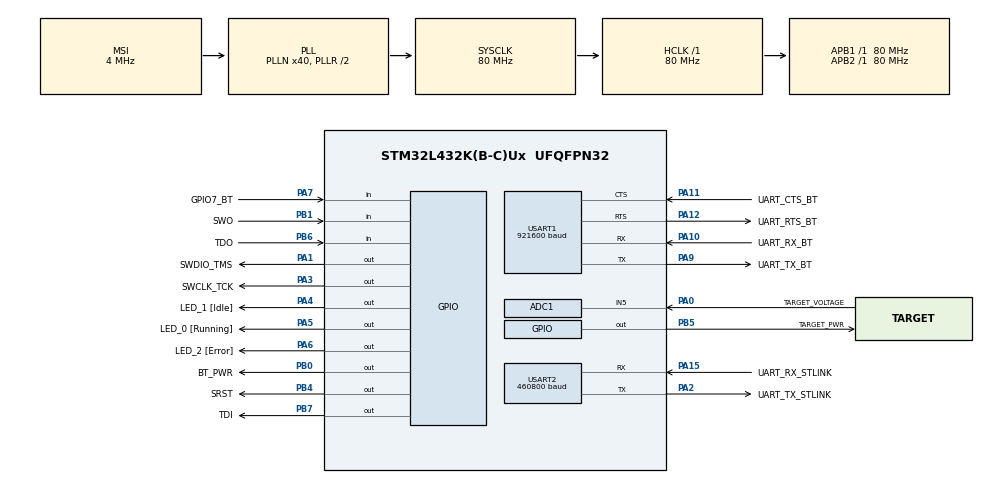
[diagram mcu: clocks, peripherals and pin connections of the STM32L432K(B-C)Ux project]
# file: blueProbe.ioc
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ADC1.Channel-8\#ChannelRegularConversion=ADC_CHANNEL_5
ADC1.ClockPrescaler=ADC_CLOCK_SYNC_PCLK_DIV1
ADC1.ContinuousConvMode=DISABLE
ADC1.DMAContinuousRequests=DISABLE
ADC1.DataAlign=ADC_DATAALIGN_RIGHT
ADC1.DiscontinuousConvMode=DISABLE
ADC1.EOCSelection=ADC_EOC_SINGLE_CONV
ADC1.EnableAnalogWatchDog1=false
ADC1.EnableAnalogWatchDog2=false
ADC1.EnableAnalogWatchDog3=false
ADC1.EnableInjectedConversion=DISABLE
ADC1.EnableRegularConversion=ENABLE
ADC1.ExternalTrigConv=ADC_SOFTWARE_START
ADC1.ExternalTrigConvEdge=ADC_EXTERNALTRIGCONVEDGE_NONE
ADC1.LowPowerAutoWait=DISABLE
ADC1.NbrOfConversion=1
ADC1.NbrOfConversionFlag=1
ADC1.OffsetNumber-8\#ChannelRegularConversion=ADC_OFFSET_NONE
ADC1.Overrun=ADC_OVR_DATA_PRESERVED
ADC1.OversamplingMode=DISABLE
ADC1.Rank-8\#ChannelRegularConversion=1
ADC1.Resolution=ADC_RESOLUTION_12B
ADC1.SamplingTime-8\#ChannelRegularConversion=ADC_SAMPLETIME_2CYCLES_5
ADC1.ScanConvMode=ADC_SCAN_DISABLE
ADC1.master=1
Dma.Request0=USART2_TX
Dma.Request1=USART2_RX
Dma.Request2=USART1_RX
Dma.Request3=USART1_TX
Dma.USART1_RX.2.Direction=DMA_PERIPH_TO_MEMORY
Dma.USART1_RX.2.Instance=DMA1_Channel5
Dma.USART1_RX.2.MemDataAlignment=DMA_MDATAALIGN_BYTE
Dma.USART1_RX.2.MemInc=DMA_MINC_ENABLE
Dma.USART1_RX.2.Mode=DMA_CIRCULAR
Dma.USART1_RX.2.PeriphDataAlignment=DMA_PDATAALIGN_BYTE
Dma.USART1_RX.2.PeriphInc=DMA_PINC_DISABLE
Dma.USART1_RX.2.Priority=DMA_PRIORITY_VERY_HIGH
Dma.USART1_TX.3.Direction=DMA_MEMORY_TO_PERIPH
Dma.USART1_TX.3.Instance=DMA1_Channel4
Dma.USART1_TX.3.MemDataAlignment=DMA_MDATAALIGN_BYTE
Dma.USART1_TX.3.MemInc=DMA_MINC_ENABLE
Dma.USART1_TX.3.Mode=DMA_NORMAL
Dma.USART1_TX.3.PeriphDataAlignment=DMA_PDATAALIGN_BYTE
Dma.USART1_TX.3.PeriphInc=DMA_PINC_DISABLE
Dma.USART1_TX.3.Priority=DMA_PRIORITY_VERY_HIGH
Dma.USART2_RX.1.Direction=DMA_PERIPH_TO_MEMORY
Dma.USART2_RX.1.Instance=DMA1_Channel6
Dma.USART2_RX.1.MemDataAlignment=DMA_MDATAALIGN_BYTE
Dma.USART2_RX.1.MemInc=DMA_MINC_ENABLE
Dma.USART2_RX.1.Mode=DMA_CIRCULAR
Dma.USART2_RX.1.PeriphDataAlignment=DMA_PDATAALIGN_BYTE
Dma.USART2_RX.1.PeriphInc=DMA_PINC_DISABLE
Dma.USART2_RX.1.Priority=DMA_PRIORITY_VERY_HIGH
Dma.USART2_TX.0.Direction=DMA_MEMORY_TO_PERIPH
Dma.USART2_TX.0.Instance=DMA1_Channel7
Dma.USART2_TX.0.MemDataAlignment=DMA_MDATAALIGN_BYTE
Dma.USART2_TX.0.MemInc=DMA_MINC_ENABLE
Dma.USART2_TX.0.Mode=DMA_NORMAL
Dma.USART2_TX.0.PeriphDataAlignment=DMA_PDATAALIGN_BYTE
Dma.USART2_TX.0.PeriphInc=DMA_PINC_DISABLE
Dma.USART2_TX.0.Priority=DMA_PRIORITY_VERY_HIGH
Mcu.Family=STM32L4
Mcu.Name=STM32L432K(B-C)Ux
Mcu.Package=UFQFPN32
NVIC.DMA1_Channel4_IRQn=true\:1\:0\:true\:false\:true\:true
NVIC.DMA1_Channel5_IRQn=true\:1\:0\:true\:false\:true\:true
NVIC.DMA1_Channel6_IRQn=true\:1\:0\:true\:false\:true\:true
NVIC.DMA1_Channel7_IRQn=true\:1\:1\:true\:false\:true\:true
NVIC.PriorityGroup=NVIC_PRIORITYGROUP_2
NVIC.USART1_IRQn=true\:1\:0\:true\:false\:true\:true
NVIC.USART2_IRQn=true\:1\:1\:true\:false\:true\:true
PA0.GPIO_Label=TARGET_VOLTAGE
PA0.Signal=ADCx_IN5
PA1.GPIO_Label=SWDIO_TMS
PA1.GPIO_Speed=GPIO_SPEED_FREQ_VERY_HIGH
PA1.Signal=GPIO_Output
PA10.GPIO_Label=UART_RX_BT
PA10.Mode=Asynchronous
PA10.Signal=USART1_RX
PA11.GPIO_Label=UART_CTS_BT
PA11.Mode=CTS_RTS
PA11.Signal=USART1_CTS
PA12.GPIO_Label=UART_RTS_BT
PA12.Mode=CTS_RTS
PA12.Signal=USART1_RTS
PA13\ (JTMS-SWDIO).Mode=Serial_Wire
PA13\ (JTMS-SWDIO).Signal=SYS_JTMS-SWDIO
PA14\ (JTCK-SWCLK).Mode=Serial_Wire
PA14\ (JTCK-SWCLK).Signal=SYS_JTCK-SWCLK
PA15\ (JTDI).GPIO_Label=UART_RX_STLINK
PA15\ (JTDI).GPIO_Mode=GPIO_MODE_AF_PP
PA15\ (JTDI).GPIO_PuPd=GPIO_PULLUP
PA15\ (JTDI).GPIO_Speed=GPIO_SPEED_FREQ_VERY_HIGH
PA15\ (JTDI).Mode=Asynchronous
PA15\ (JTDI).Signal=USART2_RX
PA2.GPIO_Label=UART_TX_STLINK
PA2.GPIO_Mode=GPIO_MODE_AF_PP
PA2.GPIO_PuPd=GPIO_PULLUP
PA2.GPIO_Speed=GPIO_SPEED_FREQ_VERY_HIGH
PA2.Mode=Asynchronous
PA2.Signal=USART2_TX
PA3.GPIO_Label=SWCLK_TCK
PA3.GPIO_Speed=GPIO_SPEED_FREQ_VERY_HIGH
PA3.Signal=GPIO_Output
PA4.GPIO_Label=LED_1 [Idle]
PA4.GPIO_ModeDefaultOutputPP=GPIO_MODE_OUTPUT_PP
PA4.GPIO_PuPd=GPIO_NOPULL
PA4.GPIO_Speed=GPIO_SPEED_FREQ_VERY_HIGH
PA4.PinState=GPIO_PIN_RESET
PA4.Signal=GPIO_Output
PA5.GPIO_Label=LED_0 [Running]
PA5.GPIO_Speed=GPIO_SPEED_FREQ_VERY_HIGH
PA5.PinState=GPIO_PIN_RESET
PA5.Signal=GPIO_Output
PA6.GPIO_Label=LED_2 [Error]
PA6.GPIO_Speed=GPIO_SPEED_FREQ_VERY_HIGH
PA6.PinState=GPIO_PIN_RESET
PA6.Signal=GPIO_Output
PA7.GPIO_Label=GPIO7_BT
PA7.Signal=GPIO_Input
PA9.GPIO_Label=UART_TX_BT
PA9.Mode=Asynchronous
PA9.Signal=USART1_TX
PB0.GPIO_Label=BT_PWR
PB0.PinState=GPIO_PIN_SET
PB0.Signal=GPIO_Output
PB1.GPIO_Label=SWO
PB1.Signal=GPIO_Input
PB4\ (NJTRST).GPIO_Label=SRST
PB4\ (NJTRST).GPIO_ModeDefaultOutputPP=GPIO_MODE_OUTPUT_OD
PB4\ (NJTRST).GPIO_Speed=GPIO_SPEED_FREQ_VERY_HIGH
PB4\ (NJTRST).PinState=GPIO_PIN_RESET
PB4\ (NJTRST).Signal=GPIO_Output
PB5.GPIO_Label=TARGET_PWR
PB5.GPIO_Speed=GPIO_SPEED_FREQ_VERY_HIGH
PB5.Signal=GPIO_Output
PB6.GPIO_Label=TDO
PB6.GPIO_PuPd=GPIO_NOPULL
PB6.Signal=GPIO_Input
PB7.GPIO_Label=TDI
PB7.GPIO_Speed=GPIO_SPEED_FREQ_VERY_HIGH
PB7.Signal=GPIO_Output
ProjectManager.HeapSize=0x200
ProjectManager.StackSize=0x400
ProjectManager.TargetToolchain=Makefile
RCC.ADCCLockSelection=RCC_ADCCLKSOURCE_SYSCLK
RCC.ADCFreq_Value=80000000
RCC.AHBFreq_Value=80000000
RCC.APB1Freq_Value=80000000
RCC.APB1TimFreq_Value=80000000
RCC.APB2Freq_Value=80000000
RCC.APB2TimFreq_Value=80000000
RCC.CortexFreq_Value=80000000
RCC.HCLKFreq_Value=80000000
RCC.HSE_VALUE=8000000
RCC.HSI48_VALUE=48000000
RCC.HSI_VALUE=16000000
RCC.LSE_VALUE=32768
RCC.MSI_VALUE=4000000
RCC.PLLN=40
RCC.SYSCLKFreq_VALUE=80000000
RCC.SYSCLKSource=RCC_SYSCLKSOURCE_PLLCLK
RCC.USBFreq_Value=16000000
RCC.VCOOutputFreq_Value=160000000
SH.ADCx_IN5.0=ADC1_IN5,IN5-Single-Ended
USART1.BaudRate=921600
USART1.SwapParam=UART_ADVFEATURE_SWAP_DISABLE
USART1.VirtualMode-Asynchronous=VM_ASYNC
USART1.WordLength=WORDLENGTH_8B
USART2.BaudRate=460800
USART2.VirtualMode-Asynchronous=VM_ASYNC
USART2.WordLength=WORDLENGTH_8B
VP_CRC_VS_CRC.Mode=CRC_Activate
board=NUCLEO-L432KC

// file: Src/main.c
/**
  ******************************************************************************
  * File Name          : main.c
  * Description        : Main program body
  ******************************************************************************
  ** This notice applies to any and all portions of this file
  * that are not between comment pairs USER CODE BEGIN and
  * USER CODE END. Other portions of this file, whether
  * inserted by the user or by software development tools
  * are owned by their respective copyright owners.
  *
  * COPYRIGHT(c) 2017 STMicroelectronics
  *
  * Redistribution and use in source and binary forms, with or without modification,
  * are permitted provided that the following conditions are met:
  *   1. Redistributions of source code must retain the above copyright notice,
  *      this list of conditions and the following disclaimer.
  *   2. Redistributions in binary form must reproduce the above copyright notice,
  *      this list of conditions and the following disclaimer in the documentation
  *      and/or other materials provided with the distribution.
  *   3. Neither the name of STMicroelectronics nor the names of its contributors
  *      may be used to endorse or promote products derived from this software
  *      without specific prior written permission.
  *
  * THIS SOFTWARE IS PROVIDED BY THE COPYRIGHT HOLDERS AND CONTRIBUTORS "AS IS"
  * AND ANY EXPRESS OR IMPLIED WARRANTIES, INCLUDING, BUT NOT LIMITED TO, THE
  * IMPLIED WARRANTIES OF MERCHANTABILITY AND FITNESS FOR A PARTICULAR PURPOSE ARE
  * DISCLAIMED. IN NO EVENT SHALL THE COPYRIGHT HOLDER OR CONTRIBUTORS BE LIABLE
  * FOR ANY DIRECT, INDIRECT, INCIDENTAL, SPECIAL, EXEMPLARY, OR CONSEQUENTIAL
  * DAMAGES (INCLUDING, BUT NOT LIMITED TO, PROCUREMENT OF SUBSTITUTE GOODS OR
  * SERVICES; LOSS OF USE, DATA, OR PROFITS; OR BUSINESS INTERRUPTION) HOWEVER
  * CAUSED AND ON ANY THEORY OF LIABILITY, WHETHER IN CONTRACT, STRICT LIABILITY,
  * OR TORT (INCLUDING NEGLIGENCE OR OTHERWISE) ARISING IN ANY WAY OUT OF THE USE
  * OF THIS SOFTWARE, EVEN IF ADVISED OF THE POSSIBILITY OF SUCH DAMAGE.
  *
  ******************************************************************************
  */
#include "main.h"
#include "stm32l4xx_hal.h"
#include "adc.h"
#include "crc.h"
#include "dma.h"
#include "usart.h"
#include "gpio.h"

/* USER CODE BEGIN Includes */
#include "general.h"
#include "gdb_main.h"
#include "target.h"
#include "exception.h"
#include "gdb_packet.h"
#include "morse.h"
/* USER CODE END Includes */

/* USER CODE BEGIN PV */
/* Private variables ---------------------------------------------------------*/

/* USER CODE END PV */

void SystemClock_Config(void);

/* USER CODE BEGIN PFP */
/* Private function prototypes -----------------------------------------------*/

/* USER CODE END PFP */

int main(void)
{

  /* MCU Configuration----------------------------------------------------------*/

  /* Reset of all peripherals, Initializes the Flash interface and the Systick. */
  HAL_Init();

  /* Configure the system clock */
  SystemClock_Config();

  /* Initialize all configured peripherals */
  MX_GPIO_Init();
  MX_DMA_Init();
  MX_USART2_UART_Init();
  MX_USART1_UART_Init();
  MX_CRC_Init();
  MX_ADC1_Init();

  /* USER CODE BEGIN 2 */
  platform_init();

  while (true) {
      volatile struct exception e;
      TRY_CATCH(e, EXCEPTION_ALL) {
          gdb_main();
      }
      if (e.type) {
          gdb_putpacketz("EFF");
          target_list_free();
          morse("TARGET LOST.", 1);
      }
  }
  /* USER CODE END 2 */

  /* Infinite loop */
  while (1)
  {

  }

}

/** System Clock Configuration
*/
void SystemClock_Config(void)
{

  RCC_OscInitTypeDef RCC_OscInitStruct;
  RCC_ClkInitTypeDef RCC_ClkInitStruct;
  RCC_PeriphCLKInitTypeDef PeriphClkInit;

    /**Initializes the CPU, AHB and APB busses clocks
    */
  RCC_OscInitStruct.OscillatorType = RCC_OSCILLATORTYPE_MSI;
  RCC_OscInitStruct.MSIState = RCC_MSI_ON;
  RCC_OscInitStruct.MSICalibrationValue = 0;
  RCC_OscInitStruct.MSIClockRange = RCC_MSIRANGE_6;
  RCC_OscInitStruct.PLL.PLLState = RCC_PLL_ON;
  RCC_OscInitStruct.PLL.PLLSource = RCC_PLLSOURCE_MSI;
  RCC_OscInitStruct.PLL.PLLN = 40;
  RCC_OscInitStruct.PLL.PLLP = RCC_PLLP_DIV7;
  RCC_OscInitStruct.PLL.PLLQ = RCC_PLLQ_DIV2;
  RCC_OscInitStruct.PLL.PLLR = RCC_PLLR_DIV2;
  if (HAL_RCC_OscConfig(&RCC_OscInitStruct) != HAL_OK)
  {
    _Error_Handler(__FILE__, __LINE__);
  }

    /**Initializes the CPU, AHB and APB busses clocks
    */
  RCC_ClkInitStruct.ClockType = RCC_CLOCKTYPE_HCLK|RCC_CLOCKTYPE_SYSCLK
                              |RCC_CLOCKTYPE_PCLK1|RCC_CLOCKTYPE_PCLK2;
  RCC_ClkInitStruct.SYSCLKSource = RCC_SYSCLKSOURCE_PLLCLK;
  RCC_ClkInitStruct.AHBCLKDivider = RCC_SYSCLK_DIV1;
  RCC_ClkInitStruct.APB1CLKDivider = RCC_HCLK_DIV1;
  RCC_ClkInitStruct.APB2CLKDivider = RCC_HCLK_DIV1;

  if (HAL_RCC_ClockConfig(&RCC_ClkInitStruct, FLASH_LATENCY_4) != HAL_OK)
  {
    _Error_Handler(__FILE__, __LINE__);
  }

  PeriphClkInit.PeriphClockSelection = RCC_PERIPHCLK_USART1|RCC_PERIPHCLK_USART2
                              |RCC_PERIPHCLK_ADC;
  PeriphClkInit.Usart1ClockSelection = RCC_USART1CLKSOURCE_PCLK2;
  PeriphClkInit.Usart2ClockSelection = RCC_USART2CLKSOURCE_PCLK1;
  PeriphClkInit.AdcClockSelection = RCC_ADCCLKSOURCE_SYSCLK;
  if (HAL_RCCEx_PeriphCLKConfig(&PeriphClkInit) != HAL_OK)
  {
    _Error_Handler(__FILE__, __LINE__);
  }

    /**Configure the main internal regulator output voltage
    */
  if (HAL_PWREx_ControlVoltageScaling(PWR_REGULATOR_VOLTAGE_SCALE1) != HAL_OK)
  {
    _Error_Handler(__FILE__, __LINE__);
  }

    /**Configure the Systick interrupt time
    */
  HAL_SYSTICK_Config(HAL_RCC_GetHCLKFreq()/1000);

    /**Configure the Systick
    */
  HAL_SYSTICK_CLKSourceConfig(SYSTICK_CLKSOURCE_HCLK);

  /* SysTick_IRQn interrupt configuration */
  HAL_NVIC_SetPriority(SysTick_IRQn, 0, 0);
}

void _Error_Handler(char * file, int line)
{
  while(1)
  {
  }
}

/************************ (C) COPYRIGHT STMicroelectronics *****END OF FILE****/
